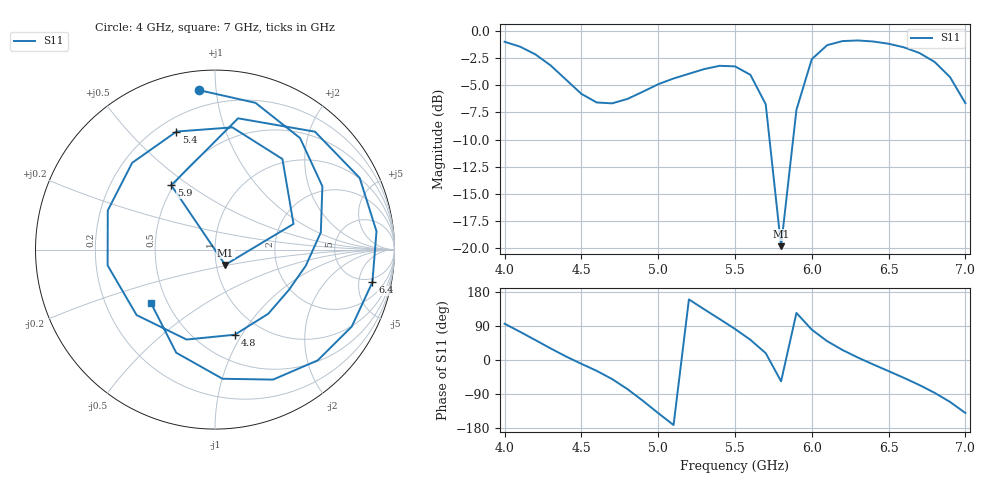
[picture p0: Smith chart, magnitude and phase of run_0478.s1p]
! Touchstone file exported from HFSS 2024.2.0
!  File:  C:/Users/wsak9/Desktop/Sim Fast/Widenad Patch/WP_AI_V1_sweep.aedt
!  Generated:  11:56:47 AM Oct 14, 2026
!  Design:  A1_model
!  Project:  WP_AI_V1_sweep
!  Setup:  Setup1
!  Solution:  Sweep
! Variables:
!  Air_gap = 2.78mm
!  Curve_Amp1 = 2.82
!  Curve_len1 = 1
!  Curve_pos = 10.63mm
!  Extra = 5.8mm
!  H_sub = 0.79mm
!  L_Patch = 17.26mm
!  L_Patch1 = 19.64mm
!  Sx = 2.1mm
!  Sy = 2.63mm
!  WS = 1.48mm
!  W_Patch = 16.88mm
!  W_Patch1 = 13.84mm
!Data is not renormalized
# GHz S MA
! Terminal data exported
! Port[1] = 1
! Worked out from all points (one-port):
!   31 points, 4 GHz to 7 GHz, reference per port
!   lowest |S11| = -19.8 dB at 5.8 GHz (marker M1), VSWR 1.23
!   |S11| at or under -10 dB: 5.725 GHz to 5.878 GHz (153.3 MHz wide, 2.64 % of centre)
!   S11 on the Smith chart (normalised r, x): 4 GHz: 0.10, +0.90; 4.8 GHz: 0.75, -0.93; 5.4 GHz: 0.27, +0.69; 5.9 GHz: 0.48, +0.43; 6.4 GHz: 4.09, -7.53; 7 GHz: 0.41, -0.31
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4  0.8928 95.7
4.1  0.8482 74.6
4.2  0.7815 52.7
4.3  0.6944 30.5
4.4  0.5973 9.2
4.7  0.4646 -50.3
4.8  0.4869 -76.9
4.9  0.5255 -107.5
5  0.5691 -140.1
5.1  0.6047 -171.6
5.2  0.636 159.9
5.3  0.6684 133.7
5.4  0.6918 108.1
5.5  0.6878 81.9
5.6  0.6292 53.3
5.7  0.4603 18.1
5.8  0.102 -56.3
5.9  0.4336 124.2
6  0.7426 80.0
6.1  0.8613 49.7
6.2  0.8996 26.4
6.3  0.9055 6.5
6.4  0.8955 -11.8
6.6  0.8417 -47.1
6.7  0.7932 -65.9
6.8  0.7209 -86.7
6.9  0.6138 -110.6
7  0.4652 -139.9
